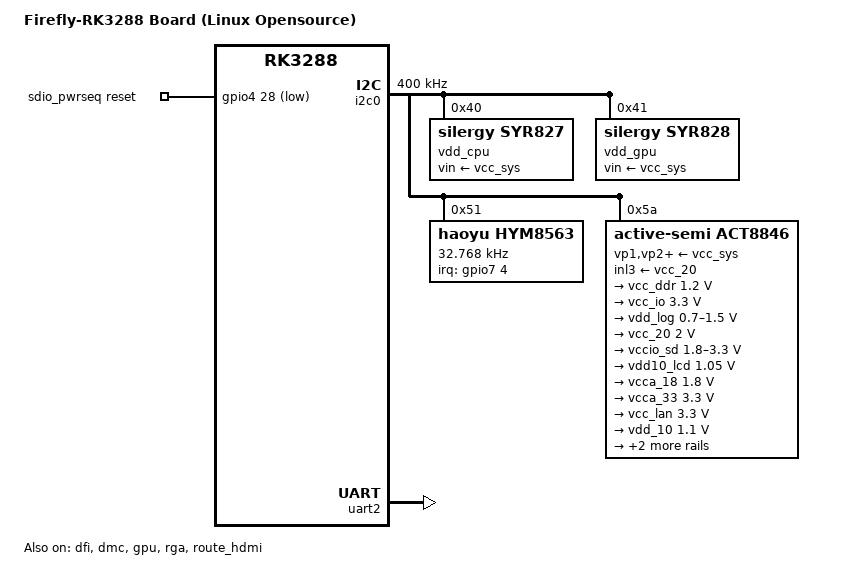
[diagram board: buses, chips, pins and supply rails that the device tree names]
/*
 * Copyright (c) 2015~2017 Fuzhou Rockchip Electronics Co., Ltd
 *
 * This file is dual-licensed: you can use it either under the terms
 * of the GPL or the X11 license, at your option. Note that this dual
 * licensing only applies to this file, and not this project as a
 * whole.
 *
 *  a) This file is free software; you can redistribute it and/or
 *     modify it under the terms of the GNU General Public License as
 *     published by the Free Software Foundation; either version 2 of the
 *     License, or (at your option) any later version.
 *
 *     This file is distributed in the hope that it will be useful,
 *     but WITHOUT ANY WARRANTY; without even the implied warranty of
 *     MERCHANTABILITY or FITNESS FOR A PARTICULAR PURPOSE.  See the
 *     GNU General Public License for more details.
 *
 * Or, alternatively,
 *
 *  b) Permission is hereby granted, free of charge, to any person
 *     obtaining a copy of this software and associated documentation
 *     files (the "Software"), to deal in the Software without
 *     restriction, including without limitation the rights to use,
 *     copy, modify, merge, publish, distribute, sublicense, and/or
 *     sell copies of the Software, and to permit persons to whom the
 *     Software is furnished to do so, subject to the following
 *     conditions:
 *
 *     The above copyright notice and this permission notice shall be
 *     included in all copies or substantial portions of the Software.
 *
 *     THE SOFTWARE IS PROVIDED "AS IS", WITHOUT WARRANTY OF ANY KIND,
 *     EXPRESS OR IMPLIED, INCLUDING BUT NOT LIMITED TO THE WARRANTIES
 *     OF MERCHANTABILITY, FITNESS FOR A PARTICULAR PURPOSE AND
 *     NONINFRINGEMENT. IN NO EVENT SHALL THE AUTHORS OR COPYRIGHT
 *     HOLDERS BE LIABLE FOR ANY CLAIM, DAMAGES OR OTHER LIABILITY,
 *     WHETHER IN AN ACTION OF CONTRACT, TORT OR OTHERWISE, ARISING
 *     FROM, OUT OF OR IN CONNECTION WITH THE SOFTWARE OR THE USE OR
 *     OTHER DEALINGS IN THE SOFTWARE.
 */

/dts-v1/;
#include "rk3288-firefly-port.dtsi"
#include "rk3288-linux.dtsi"

/ {
	model = "Firefly-RK3288 Board (Linux Opensource)";
	compatible = "rockchip,rk3288-firefly", "rockchip,rk3288";

	sdio_pwrseq: sdio-pwrseq {
		compatible = "mmc-pwrseq-simple";
		clocks = <&hym8563>;
		clock-names = "ext_clock";
		pinctrl-names = "default";
		pinctrl-0 = <&wifi_enable_h>;

		/*
		 * On the module itself this is one of these (depending
		 * on the actual card populated):
		 * - SDIO_RESET_L_WL_REG_ON
		 * - PDN (power down when low)
		 */
		reset-gpios = <&gpio4 28 GPIO_ACTIVE_LOW>;
	};
};

&cpu0 {
	cpu0-supply = <&vdd_cpu>;
};

&dfi {
	status = "okay";
};

&dmc {
	center-supply = <&vdd_log>;
	status = "okay";
};

&gpu {
	status = "okay";
	mali-supply = <&vdd_gpu>;
};

&i2c0 {
	clock-frequency = <400000>;

	vdd_cpu: syr827@40 {
		compatible = "silergy,syr827";
		fcs,suspend-voltage-selector = <1>;
		reg = <0x40>;
		regulator-name = "vdd_cpu";
		regulator-min-microvolt = <850000>;
		regulator-max-microvolt = <1350000>;
		regulator-always-on;
		regulator-boot-on;
		regulator-enable-ramp-delay = <300>;
		regulator-ramp-delay = <8000>;
		vin-supply = <&vcc_sys>;
		regulator-state-mem {
			regulator-off-in-suspend;
		};
	};

	vdd_gpu: syr828@41 {
		compatible = "silergy,syr828";
		fcs,suspend-voltage-selector = <1>;
		reg = <0x41>;
		regulator-name = "vdd_gpu";
		regulator-min-microvolt = <850000>;
		regulator-max-microvolt = <1350000>;
		regulator-always-on;
		regulator-ramp-delay = <6000>;
		vin-supply = <&vcc_sys>;
		regulator-state-mem {
			regulator-off-in-suspend;
		};
	};

	hym8563: hym8563@51 {
		compatible = "haoyu,hym8563";
		reg = <0x51>;
		interrupt-parent = <&gpio7>;
		interrupts = <4 IRQ_TYPE_EDGE_FALLING>;
		#clock-cells = <0>;
		clock-frequency = <32768>;
		clock-output-names = "xin32k";
		pinctrl-names = "default";
		pinctrl-0 = <&rtc_int>;
	};

	act8846: act8846@5a {
		compatible = "active-semi,act8846";
		reg = <0x5a>;
		pinctrl-names = "default";
		pinctrl-0 = <&pmic_vsel>, <&pwr_hold>;
		system-power-controller;

		vp1-supply = <&vcc_sys>;
		vp2-supply = <&vcc_sys>;
		vp3-supply = <&vcc_sys>;
		vp4-supply = <&vcc_sys>;
		inl1-supply = <&vcc_sys>;
		inl2-supply = <&vcc_sys>;
		inl3-supply = <&vcc_20>;

		regulators {
			vcc_ddr: REG1 {
				regulator-name = "vcc_ddr";
				regulator-min-microvolt = <1200000>;
				regulator-max-microvolt = <1200000>;
				regulator-always-on;
			};

			vcc_io: REG2 {
				regulator-name = "vcc_io";
				regulator-min-microvolt = <3300000>;
				regulator-max-microvolt = <3300000>;
				regulator-always-on;
			};

			vdd_log: REG3 {
				regulator-name = "vdd_log";
				regulator-min-microvolt = <700000>;
				regulator-max-microvolt = <1500000>;
				regulator-always-on;
			};

			vcc_20: REG4 {
				regulator-name = "vcc_20";
				regulator-min-microvolt = <2000000>;
				regulator-max-microvolt = <2000000>;
				regulator-always-on;
			};

			vccio_sd: REG5 {
				regulator-name = "vccio_sd";
				regulator-min-microvolt = <1800000>;
				regulator-max-microvolt = <3300000>;
				regulator-always-on;
			};

			vdd10_lcd: REG6 {
				regulator-name = "vdd10_lcd";
				regulator-min-microvolt = <1050000>;
				regulator-max-microvolt = <1050000>;
				regulator-always-on;
			};

			vcca_18: REG7 {
				regulator-name = "vcca_18";
				regulator-min-microvolt = <1800000>;
				regulator-max-microvolt = <1800000>;
				regulator-always-on;
			};

			vcca_33: REG8 {
				regulator-name = "vcca_33";
				regulator-min-microvolt = <3300000>;
				regulator-max-microvolt = <3300000>;
				regulator-always-on;
			};

			vcc_lan: REG9 {
				regulator-name = "vcc_lan";
				regulator-min-microvolt = <3300000>;
				regulator-max-microvolt = <3300000>;
				regulator-always-on;
				regulator-boot-on;
			};

			vdd_10: REG10 {
				regulator-name = "vdd_10";
				regulator-min-microvolt = <1100000>;
				regulator-max-microvolt = <1100000>;
				regulator-always-on;
			};

			vcc_18: REG11 {
				regulator-name = "vcc_18";
				regulator-min-microvolt = <1800000>;
				regulator-max-microvolt = <1800000>;
				regulator-always-on;
			};

			vcc18_lcd: REG12 {
				regulator-name = "vcc18_lcd";
				regulator-min-microvolt = <1850000>;
				regulator-max-microvolt = <1850000>;
				regulator-always-on;
			};
		};
	};
};

&rga {
	status = "okay";
};

&route_hdmi {
	status = "okay";
};

&sound {
	status = "okay";
};

&uart2 {
	status = "okay";
};

&hdmi_in_vopl {
	status = "disabled";
};

&pinctrl {
	act8846 {
		pmic_vsel: pmic-vsel {
			rockchip,pins = <7 14 RK_FUNC_GPIO &pcfg_output_low>;
		};

		pwr_hold: pwr-hold {
			rockchip,pins = <0 6 RK_FUNC_GPIO &pcfg_output_high>;
		};
	};
};
